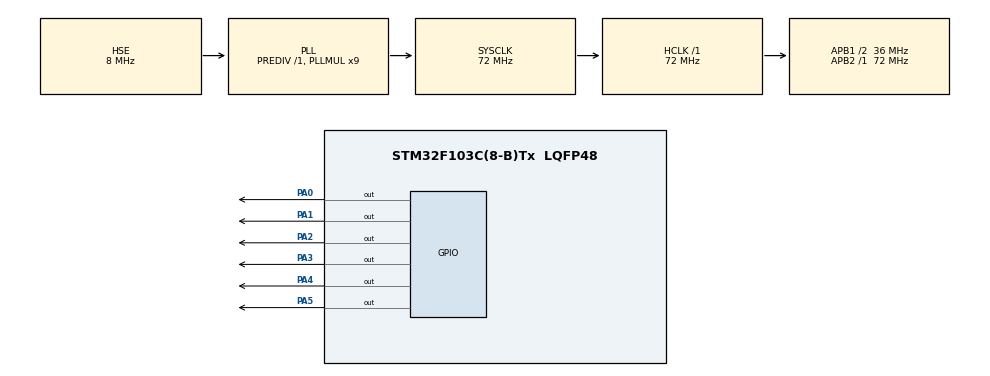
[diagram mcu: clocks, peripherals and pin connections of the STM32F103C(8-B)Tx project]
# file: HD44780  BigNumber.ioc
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Mcu.Family=STM32F1
Mcu.Name=STM32F103C(8-B)Tx
Mcu.Package=LQFP48
NVIC.PriorityGroup=NVIC_PRIORITYGROUP_4
PA0-WKUP.Signal=GPIO_Output
PA1.Signal=GPIO_Output
PA13.Mode=Serial_Wire
PA13.Signal=SYS_JTMS-SWDIO
PA14.Mode=Serial_Wire
PA14.Signal=SYS_JTCK-SWCLK
PA2.Signal=GPIO_Output
PA3.Signal=GPIO_Output
PA4.Signal=GPIO_Output
PA5.Signal=GPIO_Output
PD0-OSC_IN.Mode=HSE-External-Oscillator
PD0-OSC_IN.Signal=RCC_OSC_IN
PD1-OSC_OUT.Mode=HSE-External-Oscillator
PD1-OSC_OUT.Signal=RCC_OSC_OUT
ProjectManager.HeapSize=0x200
ProjectManager.StackSize=0x400
ProjectManager.TargetToolchain=EWARM V8.32
RCC.AHBFreq_Value=72000000
RCC.APB1CLKDivider=RCC_HCLK_DIV2
RCC.APB1Freq_Value=36000000
RCC.APB1TimFreq_Value=72000000
RCC.APB2Freq_Value=72000000
RCC.APB2TimFreq_Value=72000000
RCC.HCLKFreq_Value=72000000
RCC.PLLMUL=RCC_PLL_MUL9
RCC.PLLSourceVirtual=RCC_PLLSOURCE_HSE
RCC.SYSCLKFreq_VALUE=72000000
RCC.SYSCLKSource=RCC_SYSCLKSOURCE_PLLCLK
RCC.USBFreq_Value=72000000
board=custom

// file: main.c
/* USER CODE BEGIN Header */
/**
 ******************************************************************************
 * @file           : main.c
 * @brief          : Main program body
 ******************************************************************************
 * @attention
 *
 * Copyright (c) 2025 STMicroelectronics.
 * All rights reserved.
 *
 * This software is licensed under terms that can be found in the LICENSE file
 * in the root directory of this software component.
 * If no LICENSE file comes with this software, it is provided AS-IS.
 *
 ******************************************************************************
 */
/* USER CODE END Header */
#include "main.h"

/* USER CODE BEGIN Includes */
#include "./BigNumber/BigNumber.h"

/* USER CODE END Includes */

void SystemClock_Config(void);
static void MX_GPIO_Init(void);

/* USER CODE BEGIN 0 */

uint8_t i;
unsigned int Time;

void BigNymberShow() {

  BigNumberPrint(0, 0);
  BigNumberPrint(1, 3);
  BigNumberPrint(2, 6);
  BigNumberPrint(3, 10);
  BigNumberPrint(4, 14);

  HAL_Delay(1500);
  lcd_clear();

  BigNumberPrint(5, 0);
  BigNumberPrint(6, 3);
  BigNumberPrint(7, 6);
  BigNumberPrint(8, 10);
  BigNumberPrint(9, 14);

  HAL_Delay(1500);
  lcd_clear();
}

void SysTick_Handler(void) {
  /* USER CODE BEGIN SysTick_IRQn 0 */
  Time++;

  /* USER CODE END SysTick_IRQn 0 */
  HAL_IncTick();
  /* USER CODE BEGIN SysTick_IRQn 1 */

  /* USER CODE END SysTick_IRQn 1 */
}

/* USER CODE END 0 */

int main(void) {

  /* MCU Configuration--------------------------------------------------------*/

  /* Reset of all peripherals, Initializes the Flash interface and the Systick.
   */
  HAL_Init();

  /* Configure the system clock */
  SystemClock_Config();

  /* Initialize all configured peripherals */
  MX_GPIO_Init();

  /* Infinite loop */
  /* USER CODE BEGIN WHILE */

  // initializing of Big Number
  BigNumberinit();

  while (1) {

    // printing all number in two step

    BigNymberShow();

    // Printing four digit number, it can increase to five

    // BigNumberPrint((i / 1000), 0);
    // BigNumberPrint((i / 100), 2);
    // BigNumberPrint((i / 10), 4);
    // BigNumberPrint((i % 10), 6);
    // HAL_Delay(300);
    // i++;

    /// Exsamle of blink function

    // BigNumberBlink(i, 0, 500, 300, &Time);
    // i = 5;

    /* USER CODE END WHILE */

  }
}

void SystemClock_Config(void) {
  RCC_OscInitTypeDef RCC_OscInitStruct = {0};
  RCC_ClkInitTypeDef RCC_ClkInitStruct = {0};

  /** Initializes the RCC Oscillators according to the specified parameters
   * in the RCC_OscInitTypeDef structure.
   */
  RCC_OscInitStruct.OscillatorType = RCC_OSCILLATORTYPE_HSE;
  RCC_OscInitStruct.HSEState = RCC_HSE_ON;
  RCC_OscInitStruct.HSEPredivValue = RCC_HSE_PREDIV_DIV1;
  RCC_OscInitStruct.HSIState = RCC_HSI_ON;
  RCC_OscInitStruct.PLL.PLLState = RCC_PLL_ON;
  RCC_OscInitStruct.PLL.PLLSource = RCC_PLLSOURCE_HSE;
  RCC_OscInitStruct.PLL.PLLMUL = RCC_PLL_MUL9;
  if (HAL_RCC_OscConfig(&RCC_OscInitStruct) != HAL_OK) {
    Error_Handler();
  }

  /** Initializes the CPU, AHB and APB buses clocks
   */
  RCC_ClkInitStruct.ClockType = RCC_CLOCKTYPE_HCLK | RCC_CLOCKTYPE_SYSCLK |
                                RCC_CLOCKTYPE_PCLK1 | RCC_CLOCKTYPE_PCLK2;
  RCC_ClkInitStruct.SYSCLKSource = RCC_SYSCLKSOURCE_PLLCLK;
  RCC_ClkInitStruct.AHBCLKDivider = RCC_SYSCLK_DIV1;
  RCC_ClkInitStruct.APB1CLKDivider = RCC_HCLK_DIV2;
  RCC_ClkInitStruct.APB2CLKDivider = RCC_HCLK_DIV1;

  if (HAL_RCC_ClockConfig(&RCC_ClkInitStruct, FLASH_LATENCY_2) != HAL_OK) {
    Error_Handler();
  }
}

static void MX_GPIO_Init(void) {
  GPIO_InitTypeDef GPIO_InitStruct = {0};

  /* GPIO Ports Clock Enable */
  __HAL_RCC_GPIOD_CLK_ENABLE();
  __HAL_RCC_GPIOA_CLK_ENABLE();

  /*Configure GPIO pin Output Level */
  HAL_GPIO_WritePin(GPIOA,
                    GPIO_PIN_0 | GPIO_PIN_1 | GPIO_PIN_2 | GPIO_PIN_3 |
                        GPIO_PIN_4 | GPIO_PIN_5,
                    GPIO_PIN_RESET);

  /*Configure GPIO pins : PA0 PA1 PA2 PA3
                           PA4 PA5 */
  GPIO_InitStruct.Pin = GPIO_PIN_0 | GPIO_PIN_1 | GPIO_PIN_2 | GPIO_PIN_3 |
                        GPIO_PIN_4 | GPIO_PIN_5;
  GPIO_InitStruct.Mode = GPIO_MODE_OUTPUT_PP;
  GPIO_InitStruct.Pull = GPIO_NOPULL;
  GPIO_InitStruct.Speed = GPIO_SPEED_FREQ_LOW;
  HAL_GPIO_Init(GPIOA, &GPIO_InitStruct);

}

void Error_Handler(void) {
  __disable_irq();
  while (1) {
  }
}

#ifdef USE_FULL_ASSERT
/**
 * @brief  Reports the name of the source file and the source line number
 *         where the assert_param error has occurred.
 * @param  file: pointer to the source file name
 * @param  line: assert_param error line source number
 * @retval None
 */
void assert_failed(uint8_t *file, uint32_t line) {
  /* USER CODE BEGIN 6 */
  /* User can add his own implementation to report the file name and line
     number,
     ex: printf("Wrong parameters value: file %s on line %d\r\n", file, line) */
  /* USER CODE END 6 */
}
#endif /* USE_FULL_ASSERT */
